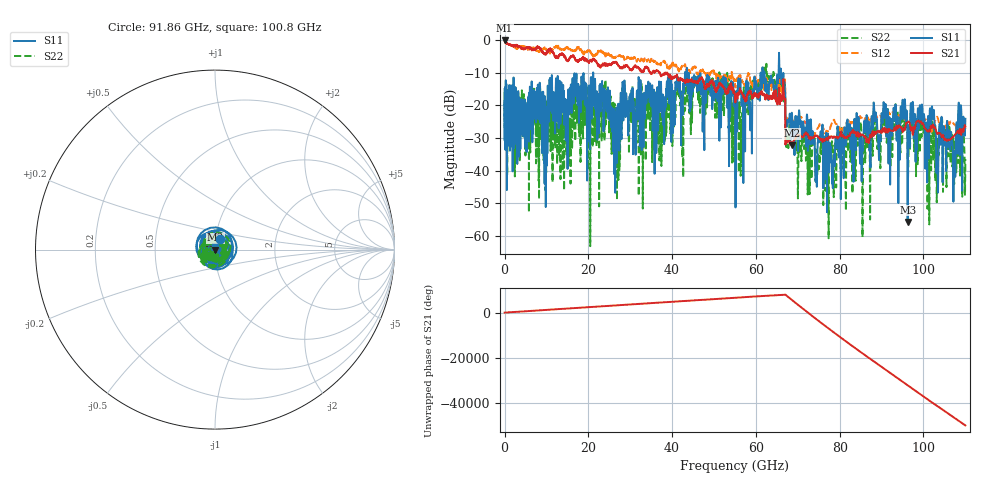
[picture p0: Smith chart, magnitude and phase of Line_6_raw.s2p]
#  HZ  S  RI  R  50.00
! Rohde & Schwarz ZVA67 4Ports - Version 4.11 - 1305.7002k04 SN: 101032
! Date: 2026-02-18 15:38:19
! Measurements: S11 S21 S12 S22
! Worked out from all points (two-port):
!   5500 points, 20 MHz to 110 GHz, reference 50 ohm
!   highest |S21| = -0.05 dB at 20 MHz (marker M1); lowest = -32.3 dB at 68.54 GHz (marker M2)
!   |S21| within 3 dB of the highest: start of sweep to 6.512 GHz; 6.942 GHz to 8.786 GHz (1.844 GHz wide, 23.5 % of centre)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
!   lowest |S11| = -55.8 dB at 96.22 GHz (marker M3), VSWR 1.00, Z = 50.1 - j0.082 ohm
!   |S11| at or under -10 dB: start of sweep to 21.15 GHz; 21.17 GHz to 43.09 GHz (21.93 GHz wide, 68.2 % of centre); 66.01 GHz to end of sweep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
!   |S22| runs from -63.2 to -7.2 dB; largest |S21 - S12| = 1.9
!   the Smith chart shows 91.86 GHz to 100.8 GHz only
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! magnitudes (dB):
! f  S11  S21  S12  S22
! 20 MHz  -15.0  -0.1  -0.5  -15.9
! 9.7 GHz  -22.4  -4.4  -2.5  -18.5
! 10.82 GHz  -13.6  -2.9  -3.6  -16.4
! 18.36 GHz  -11.5  -5.7  -3.2  -17.4
! 26.46 GHz  -25.2  -6.7  -5.4  -20.8
! 28.54 GHz  -15.1  -7.9  -5.6  -18.8
! 36.68 GHz  -25.5  -9.5  -7.4  -21.3
! 45.58 GHz  -13.9  -13.0  -8.1  -12.0
! 55.02 GHz  -16.4  -17.6  -13.6  -18.2
! 56.36 GHz  -14.6  -15.5  -11.3  -41.6
! 62.04 GHz  -9.8  -16.8  -15.2  -9.3
! 66 GHz  -9.5  -18.1  -15.7  -12.0
! 68.54 GHz  -22.4  -32.3  -25.2  -25.9
! 73.34 GHz  -31.9  -30.0  -28.5  -36.1
! 78.36 GHz  -45.4  -30.0  -25.1  -35.2
! 81.96 GHz  -25.9  -29.5  -24.6  -31.7
! 91.68 GHz  -34.8  -27.3  -22.2  -31.6
! 96.22 GHz  -55.8  -25.1  -24.7  -35.8
! 102 GHz  -20.3  -26.8  -28.1  -25.1
! 103.1 GHz  -39.0  -28.3  -23.6  -43.4
! 107.2 GHz  -43.3  -29.6  -25.5  -32.6
! 110 GHz  -24.1  -26.5  -27.3  -36.5
